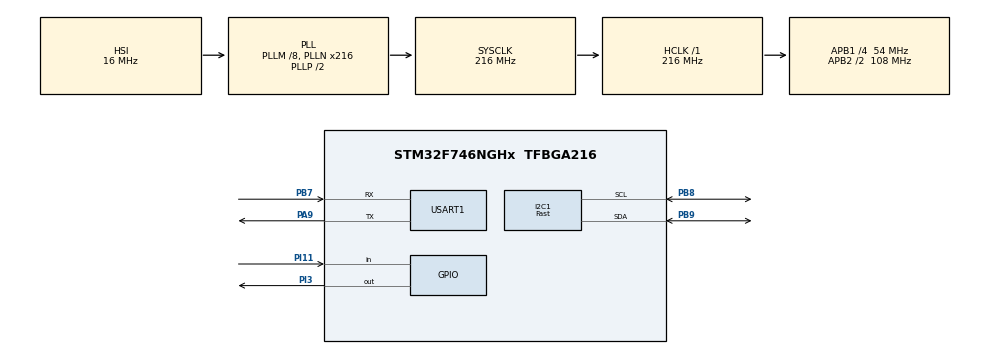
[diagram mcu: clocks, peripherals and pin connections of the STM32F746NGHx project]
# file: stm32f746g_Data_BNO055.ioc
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I2C1.I2C_Speed_Mode=I2C_Fast
I2C1.Speed=400
I2C1.Timing=0x6000030D
Mcu.Family=STM32F7
Mcu.Name=STM32F746NGHx
Mcu.Package=TFBGA216
NVIC.PriorityGroup=NVIC_PRIORITYGROUP_4
PA9.Mode=Asynchronous
PA9.Signal=USART1_TX
PB7.Mode=Asynchronous
PB7.Signal=USART1_RX
PB8.Mode=I2C
PB8.Signal=I2C1_SCL
PB9.Mode=I2C
PB9.Signal=I2C1_SDA
PI11.Signal=GPIO_Input
PI3.Signal=GPIO_Output
ProjectManager.HeapSize=0x200
ProjectManager.StackSize=0x400
ProjectManager.TargetToolchain=STM32CubeIDE
RCC.AHBFreq_Value=216000000
RCC.APB1CLKDivider=RCC_HCLK_DIV4
RCC.APB1Freq_Value=54000000
RCC.APB1TimFreq_Value=108000000
RCC.APB2CLKDivider=RCC_HCLK_DIV2
RCC.APB2Freq_Value=108000000
RCC.APB2TimFreq_Value=216000000
RCC.CortexFreq_Value=216000000
RCC.HCLKFreq_Value=216000000
RCC.HSE_VALUE=25000000
RCC.HSI_VALUE=16000000
RCC.LSE_VALUE=32768
RCC.PLL48CLockSelection=RCC_CLK48SOURCE_PLLSAIP
RCC.PLLI2SN=100
RCC.PLLM=8
RCC.PLLN=216
RCC.PLLQ=9
RCC.PLLSAIN=384
RCC.PLLSAIP=RCC_PLLSAIP_DIV8
RCC.PLLSAIR=5
RCC.PLLSAIRDiv=RCC_PLLSAIDIVR_8
RCC.SDMMCClockSelection=RCC_SDMMC1CLKSOURCE_CLK48
RCC.SYSCLKFreq_VALUE=216000000
RCC.SYSCLKSource=RCC_SYSCLKSOURCE_PLLCLK
RCC.USBFreq_Value=96000000
RCC.VCOOutputFreq_Value=432000000
USART1.VirtualMode-Asynchronous=VM_ASYNC
board=STM32F746G-DISCO

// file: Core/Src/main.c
/* USER CODE BEGIN Header */
/**
  ******************************************************************************
  * @file           : main.c
  * @brief          : Main program body
  ******************************************************************************
  * @attention
  *
  * Copyright (c) 2022 STMicroelectronics.
  * All rights reserved.
  *
  * This software is licensed under terms that can be found in the LICENSE file
  * in the root directory of this software component.
  * If no LICENSE file comes with this software, it is provided AS-IS.
  *
  ******************************************************************************
  */
/* USER CODE END Header */
#include "main.h"

/* USER CODE BEGIN Includes */
#include "uart.h"
#include "bno055_acc.h"
#include <stdio.h>
/* USER CODE END Includes */

/* USER CODE BEGIN PV */
I2C_HandleTypeDef hi2c1;
UART_HandleTypeDef huart1;

GPIO_PinState userButton;
/* USER CODE END PV */

void SystemClock_Config(void);
static void MX_GPIO_Init(void);
static void MX_USART1_UART_Init(void);
static void MX_I2C1_Init(void);

int main(void)
{
  /* USER CODE BEGIN 1 */
	uint8_t unit;

	uint8_t	reg_readings[18];
	int16_t raw_acc_data[3];
	int16_t raw_gyr_data[3];

	float accX, accY, accZ;
	float gyrX, gyrY, gyrZ;

	char str[300];
	uint16_t counter = 1;
  /* USER CODE END 1 */

  /* MCU Configuration--------------------------------------------------------*/

  /* Reset of all peripherals, Initializes the Flash interface and the Systick. */
  HAL_Init();

  /* Configure the system clock */
  SystemClock_Config();

  /* Initialize all configured peripherals */
  MX_GPIO_Init();
  MX_USART1_UART_Init();
  MX_I2C1_Init();
  /* USER CODE BEGIN 2 */

  // Reset sequence -> bno055 can be configured
  HAL_GPIO_WritePin(GPIOI, GPIO_PIN_3, GPIO_PIN_RESET);
  HAL_Delay(300);
  HAL_GPIO_WritePin(GPIOI, GPIO_PIN_3, GPIO_PIN_SET);
  HAL_Delay(600);

  UART_assignHandel(huart1);
  bno055_assignHandel(hi2c1);

  bno055_setOperationMode(ACCGYRO);

  unit = bno055_readUnit();

  // Check if the unit of the sensor values is m/s^2 and Deg./sec
  if(unit != 0x80){
	  bno055_setUnit();
  }

  // Clear Terminal
  UARTprintf("\033[2J\033[H");

  /* USER CODE END 2 */

  /* Infinite loop */
  while (1)
  {

    /* USER CODE BEGIN 3 */

	  // Gather 251 Sensor data samples of a motion for a gesture when the Button B1 was pressed
	  userButton = HAL_GPIO_ReadPin(GPIOI, GPIO_PIN_11);

	  if(userButton == GPIO_PIN_SET){

		  while(counter != 251){

			  // Read in the raw sensor values out of the acceleration and gyroscope sensor registers
			  readSensorValues((uint8_t*)reg_readings);

			  // Convert the 8 bit values of the acceleration register to a 16 bit value
			  raw_acc_data[0] = (((int16_t)((uint8_t *)(reg_readings))[1] << 8) | ((uint8_t *)(reg_readings))[0]);
			  raw_acc_data[1] = (((int16_t)((uint8_t *)(reg_readings))[3] << 8) | ((uint8_t *)(reg_readings))[2]);
			  raw_acc_data[2] = (((int16_t)((uint8_t *)(reg_readings))[5] << 8) | ((uint8_t *)(reg_readings))[4]);

			  // Convert the raw sensor values to a real acceleration value of the unit m/s^2
			  accX = (float)(raw_acc_data[0] / ACC_DIV_MSQ);
			  accY = (float)(raw_acc_data[1] / ACC_DIV_MSQ);
			  accZ = (float)(raw_acc_data[2] / ACC_DIV_MSQ);

			  // Convert the 8 bit values of the gyroscope register to a 16 bit value
			  raw_gyr_data[0] = (((int16_t)((uint8_t *)(reg_readings))[13] << 8) | ((uint8_t *)(reg_readings))[12]);
			  raw_gyr_data[1] = (((int16_t)((uint8_t *)(reg_readings))[15] << 8) | ((uint8_t *)(reg_readings))[14]);
			  raw_gyr_data[2] = (((int16_t)((uint8_t *)(reg_readings))[17] << 8) | ((uint8_t *)(reg_readings))[16]);

			  // Convert the raw sensor values to Deg./s
			  gyrX = (float)(raw_gyr_data[0] / GYR_DIV_DPS);
			  gyrY = (float)(raw_gyr_data[1] / GYR_DIV_DPS);
			  gyrZ = (float)(raw_gyr_data[2] / GYR_DIV_DPS);

			  // Print out each sample to the serial terminal
			  sprintf(str,"%d, %.2f, %.2f, %.2f, %.2f, %.2f, %.2f",counter , accX, accY, accZ, gyrX, gyrY, gyrZ);
			  UARTprintln(str);

			  counter += 1;
		  }

	  }else{
		  counter = 0;
	  }
  }
  /* USER CODE END 3 */
}

void SystemClock_Config(void)
{
  RCC_OscInitTypeDef RCC_OscInitStruct = {0};
  RCC_ClkInitTypeDef RCC_ClkInitStruct = {0};

  /** Configure the main internal regulator output voltage
  */
  __HAL_RCC_PWR_CLK_ENABLE();
  __HAL_PWR_VOLTAGESCALING_CONFIG(PWR_REGULATOR_VOLTAGE_SCALE1);

  /** Initializes the RCC Oscillators according to the specified parameters
  * in the RCC_OscInitTypeDef structure.
  */
  RCC_OscInitStruct.OscillatorType = RCC_OSCILLATORTYPE_HSI;
  RCC_OscInitStruct.HSIState = RCC_HSI_ON;
  RCC_OscInitStruct.HSICalibrationValue = RCC_HSICALIBRATION_DEFAULT;
  RCC_OscInitStruct.PLL.PLLState = RCC_PLL_ON;
  RCC_OscInitStruct.PLL.PLLSource = RCC_PLLSOURCE_HSI;
  RCC_OscInitStruct.PLL.PLLM = 8;
  RCC_OscInitStruct.PLL.PLLN = 216;
  RCC_OscInitStruct.PLL.PLLP = RCC_PLLP_DIV2;
  RCC_OscInitStruct.PLL.PLLQ = 9;
  if (HAL_RCC_OscConfig(&RCC_OscInitStruct) != HAL_OK)
  {
    Error_Handler();
  }

  /** Activate the Over-Drive mode
  */
  if (HAL_PWREx_EnableOverDrive() != HAL_OK)
  {
    Error_Handler();
  }

  /** Initializes the CPU, AHB and APB buses clocks
  */
  RCC_ClkInitStruct.ClockType = RCC_CLOCKTYPE_HCLK|RCC_CLOCKTYPE_SYSCLK
                              |RCC_CLOCKTYPE_PCLK1|RCC_CLOCKTYPE_PCLK2;
  RCC_ClkInitStruct.SYSCLKSource = RCC_SYSCLKSOURCE_PLLCLK;
  RCC_ClkInitStruct.AHBCLKDivider = RCC_SYSCLK_DIV1;
  RCC_ClkInitStruct.APB1CLKDivider = RCC_HCLK_DIV4;
  RCC_ClkInitStruct.APB2CLKDivider = RCC_HCLK_DIV2;

  if (HAL_RCC_ClockConfig(&RCC_ClkInitStruct, FLASH_LATENCY_7) != HAL_OK)
  {
    Error_Handler();
  }
}

static void MX_I2C1_Init(void)
{

  hi2c1.Instance = I2C1;
  hi2c1.Init.Timing = 0x6000030D;
  hi2c1.Init.OwnAddress1 = 0;
  hi2c1.Init.AddressingMode = I2C_ADDRESSINGMODE_7BIT;
  hi2c1.Init.DualAddressMode = I2C_DUALADDRESS_DISABLE;
  hi2c1.Init.OwnAddress2 = 0;
  hi2c1.Init.OwnAddress2Masks = I2C_OA2_NOMASK;
  hi2c1.Init.GeneralCallMode = I2C_GENERALCALL_DISABLE;
  hi2c1.Init.NoStretchMode = I2C_NOSTRETCH_DISABLE;
  if (HAL_I2C_Init(&hi2c1) != HAL_OK)
  {
    Error_Handler();
  }

  /** Configure Analogue filter
  */
  if (HAL_I2CEx_ConfigAnalogFilter(&hi2c1, I2C_ANALOGFILTER_ENABLE) != HAL_OK)
  {
    Error_Handler();
  }

  /** Configure Digital filter
  */
  if (HAL_I2CEx_ConfigDigitalFilter(&hi2c1, 0) != HAL_OK)
  {
    Error_Handler();
  }

}

static void MX_USART1_UART_Init(void)
{

  huart1.Instance = USART1;
  huart1.Init.BaudRate = 115200;
  huart1.Init.WordLength = UART_WORDLENGTH_8B;
  huart1.Init.StopBits = UART_STOPBITS_1;
  huart1.Init.Parity = UART_PARITY_NONE;
  huart1.Init.Mode = UART_MODE_TX_RX;
  huart1.Init.HwFlowCtl = UART_HWCONTROL_NONE;
  huart1.Init.OverSampling = UART_OVERSAMPLING_16;
  huart1.Init.OneBitSampling = UART_ONE_BIT_SAMPLE_DISABLE;
  huart1.AdvancedInit.AdvFeatureInit = UART_ADVFEATURE_NO_INIT;
  if (HAL_UART_Init(&huart1) != HAL_OK)
  {
    Error_Handler();
  }

}

static void MX_GPIO_Init(void)
{
  GPIO_InitTypeDef GPIO_InitStruct = {0};

  /* GPIO Ports Clock Enable */
  __HAL_RCC_GPIOB_CLK_ENABLE();
  __HAL_RCC_GPIOI_CLK_ENABLE();
  __HAL_RCC_GPIOA_CLK_ENABLE();

  /*Configure GPIO pin Output Level */
  HAL_GPIO_WritePin(GPIOI, GPIO_PIN_3, GPIO_PIN_RESET);

  /*Configure GPIO pin : PI3 */
  GPIO_InitStruct.Pin = GPIO_PIN_3;
  GPIO_InitStruct.Mode = GPIO_MODE_OUTPUT_PP;
  GPIO_InitStruct.Pull = GPIO_NOPULL;
  GPIO_InitStruct.Speed = GPIO_SPEED_FREQ_LOW;
  HAL_GPIO_Init(GPIOI, &GPIO_InitStruct);

  /*Configure GPIO pin : PI11 */
  GPIO_InitStruct.Pin = GPIO_PIN_11;
  GPIO_InitStruct.Mode = GPIO_MODE_INPUT;
  GPIO_InitStruct.Pull = GPIO_NOPULL;
  HAL_GPIO_Init(GPIOI, &GPIO_InitStruct);

}

void Error_Handler(void)
{
  __disable_irq();
  while (1)
  {
  }
}
